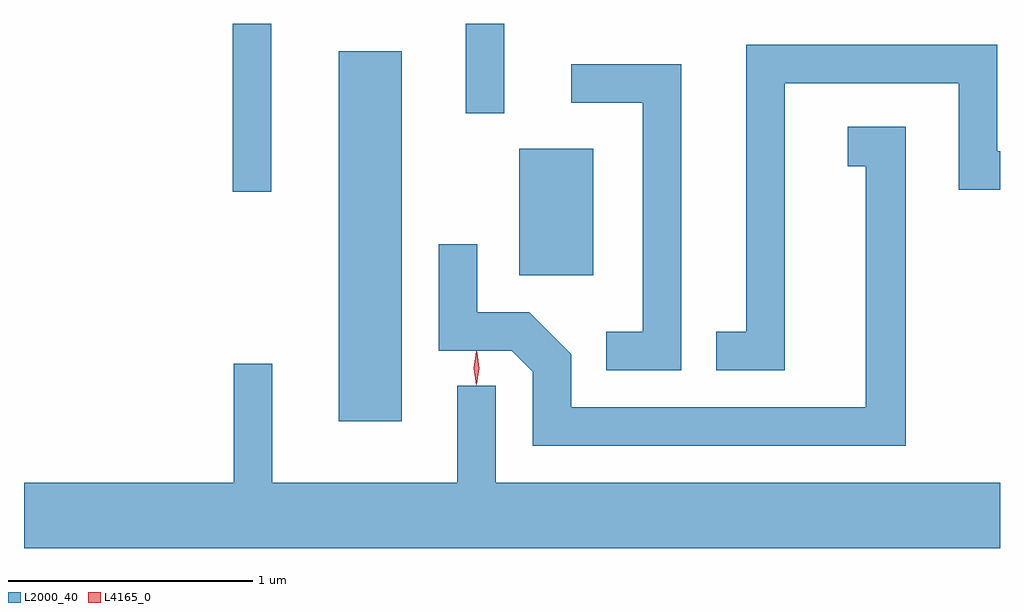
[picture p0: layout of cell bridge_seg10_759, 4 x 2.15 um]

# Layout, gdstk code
import gdstk
lib = gdstk.Library(unit=1e-6, precision=1e-09)
def R(c, l, rs):  # rectangles x0, y0, x1, y1
    for r in rs: c.add(gdstk.rectangle(r[:2], r[2:], *l))
def P(c, l, *ps):  # polygons
    for p in ps: c.add(gdstk.Polygon(p, *l))
L2000_40 = (2000, 40)
L4165_0 = (4165, 0)

bridge_seg10_759 = lib.new_cell('bridge_seg10_759')
R(bridge_seg10_759, L2000_40, [(525.666,2098.896,525.924,2100.414), (526.406,2099.496,526.709,2100.014), (525.231,2099.838,525.389,2100.526), (526.186,2100.158,526.344,2100.526)])
P(bridge_seg10_759, L2000_40, [(527.494,2100.281),(528.206,2100.281),(528.206,2099.846),(528.376,2099.846),(528.376,2100.004),(528.364,2100.004),(528.364,2100.439),(527.336,2100.439),(527.336,2099.264),(527.213,2099.264),(527.213,2099.106),(527.494,2099.106)],
  [(527.069,2100.359),(526.618,2100.359),(526.618,2100.201),(526.911,2100.201),(526.911,2099.264),(526.763,2099.264),(526.763,2099.106),(527.069,2099.106)],
  [(527.989,2100.104),(527.753,2100.104),(527.753,2099.941),(527.826,2099.941),(527.826,2098.954),(526.619,2098.954),(526.619,2099.172),(526.447,2099.344),(526.234,2099.344),(526.234,2099.623),(526.076,2099.623),(526.076,2099.186),(526.374,2099.186),(526.461,2099.099),(526.461,2098.796),(527.989,2098.796)],
  [(528.376,2098.644),(526.309,2098.644),(526.309,2099.043),(526.151,2099.043),(526.151,2098.644),(525.394,2098.644),(525.394,2099.133),(525.236,2099.133),(525.236,2098.644),(524.376,2098.644),(524.376,2098.376),(528.376,2098.376)])
P(bridge_seg10_759, L4165_0, [(526.23,2099.044),(526.23,2099.045),(526.22,2099.114),(526.23,2099.183),(526.231,2099.184),(526.231,2099.183),(526.24,2099.114),(526.23,2099.045)],
  [(526.23,2099.048),(526.222,2099.114),(526.232,2099.18),(526.232,2099.181),(526.233,2099.18),(526.241,2099.114),(526.231,2099.048),(526.231,2099.048)])

lib.write_gds('bridge_seg10_759.gds')
